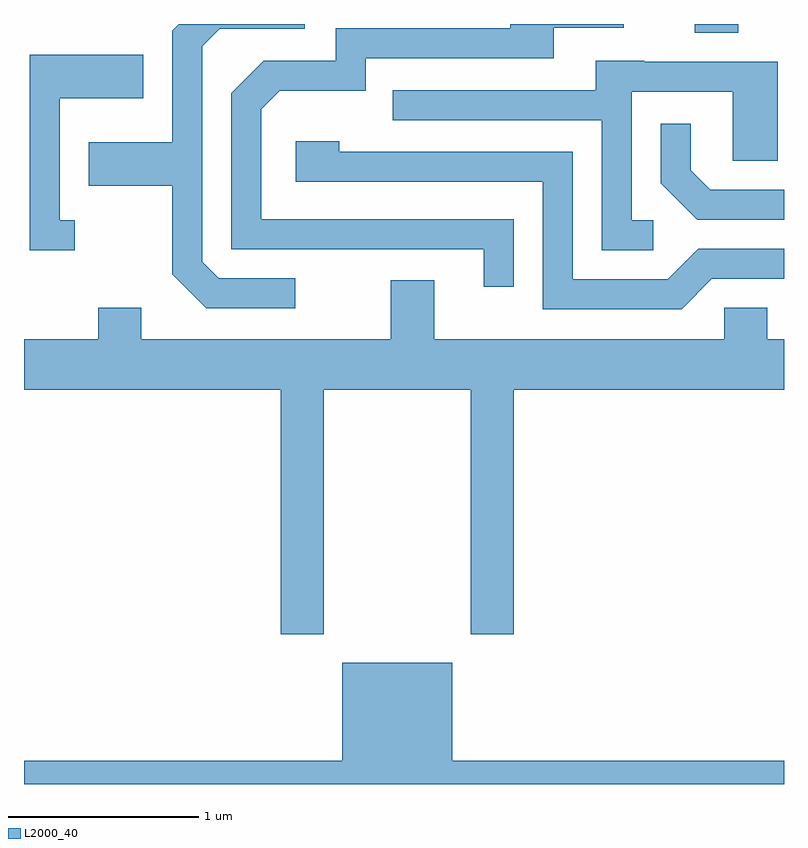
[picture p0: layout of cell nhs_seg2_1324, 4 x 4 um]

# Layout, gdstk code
import gdstk
lib = gdstk.Library(unit=1e-6, precision=1e-09)
def R(c, l, rs):  # rectangles x0, y0, x1, y1
    for r in rs: c.add(gdstk.rectangle(r[:2], r[2:], *l))
def P(c, l, *ps):  # polygons
    for p in ps: c.add(gdstk.Polygon(p, *l))
L2000_40 = (2000, 40)

nhs_seg2_1324 = lib.new_cell('nhs_seg2_1324')
R(nhs_seg2_1324, L2000_40, [(227.141,1045.756,227.369,1045.802)])
P(nhs_seg2_1324, L2000_40, [(225.038,1044.464),(224.637,1044.464),(224.549,1044.552),(224.549,1045.684),(224.642,1045.776),(225.088,1045.776),(225.088,1045.802),(224.426,1045.802),(224.391,1045.767),(224.391,1045.179),(223.951,1045.179),(223.951,1044.951),(224.391,1044.951),(224.391,1044.484),(224.569,1044.306),(225.038,1044.306)],
  [(226.189,1044.774),(224.859,1044.774),(224.859,1045.353),(224.957,1045.451),(225.409,1045.451),(225.409,1045.621),(226.399,1045.621),(226.399,1045.781),(226.768,1045.781),(226.768,1045.802),(226.171,1045.802),(226.171,1045.779),(225.251,1045.779),(225.251,1045.609),(224.874,1045.609),(224.701,1045.437),(224.701,1044.616),(226.031,1044.616),(226.031,1044.418),(226.189,1044.418)],
  [(223.878,1044.769),(223.799,1044.769),(223.799,1045.411),(224.239,1045.411),(224.239,1045.639),(223.641,1045.639),(223.641,1044.611),(223.878,1044.611)],
  [(226.923,1044.769),(226.809,1044.769),(226.809,1045.446),(227.341,1045.446),(227.341,1045.081),(227.579,1045.081),(227.579,1045.604),(226.875,1045.604),(226.875,1045.609),(226.621,1045.609),(226.621,1045.454),(225.553,1045.454),(225.553,1045.296),(226.651,1045.296),(226.651,1044.611),(226.923,1044.611)],
  [(227.611,1044.929),(227.222,1044.929),(227.119,1045.032),(227.119,1045.277),(226.961,1045.277),(226.961,1044.964),(227.154,1044.771),(227.611,1044.771)],
  [(227.232,1044.461),(227.611,1044.461),(227.611,1044.619),(227.159,1044.619),(226.999,1044.459),(226.499,1044.459),(226.499,1045.129),(225.269,1045.129),(225.269,1045.184),(225.041,1045.184),(225.041,1044.971),(226.341,1044.971),(226.341,1044.301),(227.072,1044.301)],
  [(225.189,1043.876),(225.961,1043.876),(225.961,1042.591),(226.189,1042.591),(226.189,1043.876),(227.611,1043.876),(227.611,1044.144),(227.524,1044.144),(227.524,1044.309),(227.296,1044.309),(227.296,1044.144),(225.769,1044.144),(225.769,1044.454),(225.541,1044.454),(225.541,1044.144),(224.229,1044.144),(224.229,1044.309),(224.001,1044.309),(224.001,1044.144),(223.611,1044.144),(223.611,1043.876),(224.961,1043.876),(224.961,1042.591),(225.189,1042.591)],
  [(227.611,1041.924),(225.864,1041.924),(225.864,1042.439),(225.286,1042.439),(225.286,1041.924),(223.611,1041.924),(223.611,1041.802),(227.611,1041.802)])

lib.write_gds('nhs_seg2_1324.gds')
